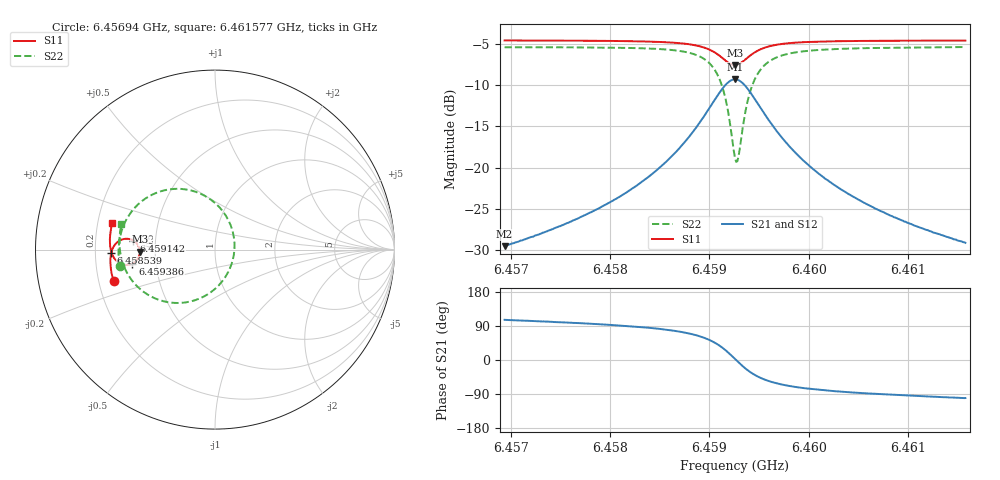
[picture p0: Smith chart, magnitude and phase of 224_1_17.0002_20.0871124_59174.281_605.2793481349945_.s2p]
#  HZ  S  RI  R  50.00
! Rohde & Schwarz Vector Network Analyzer
! Rohde-Schwarz,ZNB20-2Port,1311601062101988,3.16
! Created: UTC 3/20/2024, 11:02:05 PM
! freq[Hz]  re:S11  im:S11  re:S21  im:S21  re:S12  im:S12  re:S22  im:S22
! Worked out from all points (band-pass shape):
!   401 points, 6.45694 GHz to 6.461577 GHz, reference 50 ohm
!   highest |S21| = -9.28 dB at 6.459258 GHz (marker M1); lowest = -29.5 dB at 6.45694 GHz (marker M2)
!   |S21| within 3 dB of the highest: 6.459027 GHz to 6.45949 GHz (463.6 kHz wide, 0.00718 % of centre)
!   lowest |S11| = -7.6 dB at 6.459258 GHz (marker M3), VSWR 2.44, Z = 20.5 - j0.597 ohm
!   |S11| at or under -10 dB: nowhere
!   |S22| runs from -19.3 to -5.4 dB; largest |S21 - S12| = 0.013
!   S11 on the Smith chart (normalised r, x): 6.45694 GHz: 0.26, -0.14; 6.458539 GHz: 0.27, -0.01; 6.459142 GHz: 0.37, +0.05; 6.459386 GHz: 0.37, -0.07; 6.461577 GHz: 0.26, +0.12
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6.4569397e9  -0.5654 -0.1761  -0.0092 0.032  -0.00745 0.0321  -0.5308 -0.0917
6.4577164e9  -0.58 -0.1084  -0.00608 0.0501  -0.0034 0.0494  -0.5372 -0.00126
6.4580874e9  -0.5831 -0.0719  -0.00142 0.0659  0.00178 0.0649  -0.5317 0.0558
6.4584931e9  -0.5797 -0.0242  0.0133 0.0981  0.0174 0.0956  -0.5053 0.1441
6.4585395e9  -0.5784 -0.018  0.0167 0.1037  0.0207 0.1007  -0.499 0.1575
6.4587481e9  -0.5663 0.0139  0.0426 0.1354  0.0466 0.1307  -0.4511 0.2292
6.4588988e9  -0.5452 0.0404  0.0846 0.1658  0.0881 0.1593  -0.3731 0.2937
6.4590495e9  -0.4993 0.0601  0.1761 0.1852  0.1772 0.178  -0.2062 0.3386
6.4591423e9  -0.4548 0.0503  0.2657 0.1548  0.2661 0.149  -0.0402 0.2898
6.4591887e9  -0.4337 0.0317  0.3095 0.1123  0.3108 0.1071  0.0427 0.2147
6.4592582e9  -0.4187 -0.012  0.3432 0.0162  0.3468 0.00923  0.1085 0.0362
6.4592698e9  -0.4192 -0.0202  0.3431 -0.00164  0.347 -0.00912  0.1084 0.00284
6.459293e9  -0.4226 -0.0357  0.3379 -0.036  0.3416 -0.045  0.0979 -0.0628
6.4593394e9  -0.438 -0.0617  0.3097 -0.0958  0.3119 -0.1076  0.0412 -0.1757
6.4593857e9  -0.4599 -0.0779  0.2683 -0.1368  0.2673 -0.1499  -0.0428 -0.2505
6.4594785e9  -0.503 -0.0848  0.1838 -0.1684  0.1779 -0.1798  -0.2104 -0.2974
6.4596292e9  -0.5468 -0.0644  0.0964 -0.1551  0.0881 -0.1612  -0.3772 -0.2494
6.4597915e9  -0.5682 -0.0368  0.0518 -0.1276  0.0442 -0.1305  -0.4576 -0.178
6.4600349e9  -0.581 -0.00136  0.0226 -0.0964  0.0169 -0.0971  -0.5059 -0.0962
6.4604059e9  -0.5858 0.0423  0.00596 -0.0685  0.00201 -0.0681  -0.5284 -0.0132
6.4608116e9  -0.5838 0.0828  -0.00104 -0.0515  -0.00411 -0.0507  -0.5323 0.0509
6.4615767e9  -0.5716 0.1504  -0.00626 -0.0344  -0.00811 -0.0334  -0.5214 0.1409
